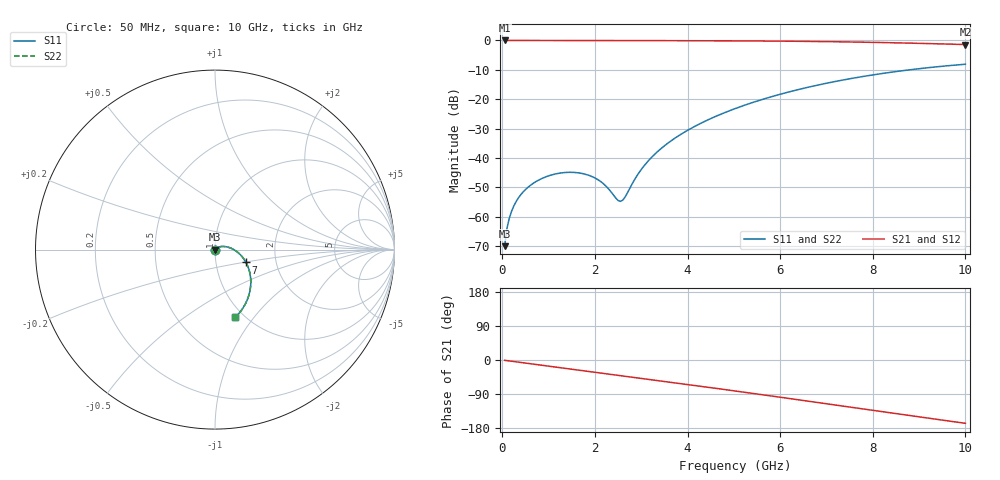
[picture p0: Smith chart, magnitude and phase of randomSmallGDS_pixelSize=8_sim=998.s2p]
! freq	dB(S11)	phase(S11)	dB(S12)	phase(S12)
!  dB(S21)	phase(S21)	dB(S22)	phase(S22)
!S-par simulation data
#  GHz  S  DB  R 50
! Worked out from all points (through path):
!   200 points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, 50 MHz to 10 GHz, reference 50 ohm
!   highest |S21| = 0.00 dB at 50 MHz (marker M1); lowest = -1.4 dB at 10 GHz (marker M2)
!   group delay of S21, straight-line fit = 46.5 ps
!   lowest |S11| = -70.0 dB at 50 MHz (marker M3), VSWR 1.00, Z = 50 - j0.0315 ohm
!   |S11| at or under -10 dB: start of sweep to 8.791 GHz
!   |S22| runs from -70.0 to -8.1 dB; largest |S21 - S12| = 0
!   S11 on the Smith chart (normalised r, x): 50 MHz: 1.00, -0.00; 7 GHz: 1.40, -0.21; 10 GHz: 0.91, -0.81
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0.05  -70.02 -88.1  -0.00 -0.8  -0.00 -0.8  -70.02 -88.1
0.1  -64.04 -91.3  -0.00 -1.6  -0.00 -1.6  -64.04 -91.2
0.2  -58.15 -94.8  -0.00 -3.2  -0.00 -3.2  -58.15 -94.8
0.35  -53.55 -98.7  -0.00 -5.6  -0.00 -5.6  -53.55 -98.7
0.5  -50.76 -101.9  -0.01 -8.1  -0.01 -8.1  -50.76 -101.9
0.75  -47.83 -106.9  -0.01 -12.1  -0.01 -12.1  -47.83 -106.9
1.05  -45.83 -113.0  -0.02 -16.9  -0.02 -16.9  -45.83 -113.0
1.45  -44.87 -121.9  -0.02 -23.3  -0.02 -23.3  -44.87 -121.9
1.75  -45.36 -129.9  -0.03 -28.1  -0.03 -28.1  -45.36 -129.9
2.15  -48.33 -146.9  -0.03 -34.5  -0.03 -34.5  -48.33 -146.9
2.55  -54.79 143.6  -0.04 -41.0  -0.04 -41.0  -54.77 143.6
2.65  -53.33 110.1  -0.04 -42.6  -0.04 -42.6  -53.31 110.2
3  -43.93 62.4  -0.05 -48.2  -0.05 -48.2  -43.93 62.4
3.4  -37.17 46.2  -0.06 -54.8  -0.06 -54.8  -37.17 46.2
4.1  -29.72 29.8  -0.08 -66.3  -0.08 -66.3  -29.72 29.8
5.05  -23.06 11.9  -0.13 -82.1  -0.13 -82.1  -23.06 11.9
5.85  -18.98 -2.4  -0.21 -95.6  -0.21 -95.6  -18.98 -2.3
6.7  -15.58 -17.3  -0.33 -110.2  -0.33 -110.2  -15.58 -17.3
7  -14.56 -22.5  -0.39 -115.4  -0.39 -115.4  -14.56 -22.5
8.35  -10.91 -45.8  -0.75 -138.9  -0.75 -138.9  -10.91 -45.8
9.15  -9.35 -59.4  -1.04 -152.6  -1.04 -152.6  -9.35 -59.4
10  -8.09 -73.4  -1.39 -167.0  -1.39 -167.0  -8.09 -73.4
